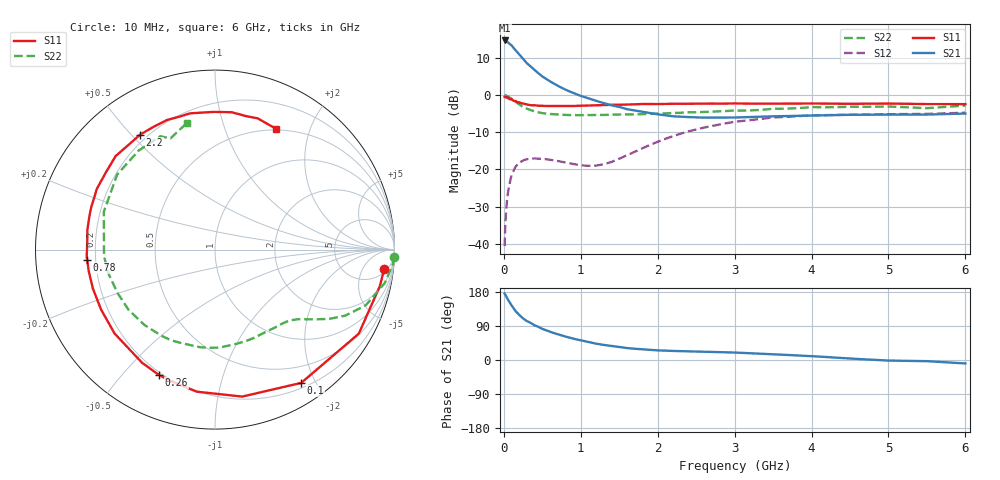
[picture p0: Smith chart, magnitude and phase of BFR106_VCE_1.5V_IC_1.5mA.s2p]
! Infineon Technologies  Discrete & RF Semiconductors
! BFR106
! VCE =  1.5 V,  IC =  1.5 mA
! Common Emitter S-Parameters:  Nov 2015
# GHz  S  MA  R  50
!  f  S11  S21  S12  S22
! GHz  MAG  ANG  MAG  ANG  MAG  ANG  MAG  ANG
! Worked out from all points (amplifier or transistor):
!   210 points, 10 MHz to 6 GHz, reference 50 ohm
!   highest |S21| = 14.7 dB at 10 MHz (marker M1)
!   |S21| within 3 dB of that: start of sweep to 168.7 MHz
!   unconditionally stable (mu >= 1): 804.6 MHz to end of sweep
!   at 185 MHz: K = 0.23, MSG = 14.9 dB, |S12| = -18.5 dB
!   at 1.52 GHz: K = 1.34, MAG = 3.3 dB, |S12| = -16.9 dB
!   at 6 GHz: K = 1.02, MAG = -1.0 dB, |S12| = -4.7 dB
!   S11 on the Smith chart (normalised r, x): 10 MHz: 7, -15; 100 MHz: 0.27, -1.81; 260 MHz: 0.19, -0.63; 780 MHz: 0.17, -0.04; 2.2 GHz: 0.17, +0.53; 6 GHz: 0.48, +1.51
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0.01  0.9487 -6.4  5.421 175.3  0.0093 87.2  0.9979 -2.4
0.015  0.9436 -9.4  5.391 173.8  0.0142 84.4  0.9963 -3.5
0.025  0.9326 -15.3  5.314 170.3  0.0236 79.7  0.989 -5.7
0.05  0.928 -30.3  5.161 160.1  0.0462 72.9  0.9643 -11.1
0.1  0.8844 -57.1  4.672 144.0  0.0838 58.8  0.8952 -20.3
0.15  0.8329 -79.5  4.039 129.1  0.1082 46.9  0.8146 -26.8
0.2  0.798 -97.3  3.537 118.8  0.1233 39.0  0.7492 -30.9
0.26  0.7651 -114.1  2.987 108.2  0.1332 31.3  0.684 -34.6
0.3  0.75 -122.8  2.678 102.7  0.1373 28.1  0.6547 -36.4
0.4  0.7291 -140.1  2.158 91.5  0.1407 21.4  0.6021 -40.1
0.5  0.7172 -152.2  1.779 82.1  0.1391 17.7  0.5713 -43.8
0.6  0.7142 -162.3  1.524 74.3  0.1351 15.9  0.5565 -47.7
0.78  0.7147 -175.4  1.211 63.1  0.1251 16.7  0.5419 -55.7
1.02  0.7197 170.1  0.96 50.9  0.1133 25.2  0.5373 -67.3
1.4  0.7403 152.8  0.728 37.0  0.1262 48.8  0.5468 -87.6
2.02  0.7568 129.0  0.547 25.3  0.2399 60.4  0.5651 -123.0
2.2  0.7645 123.1  0.518 23.9  0.2805 58.6  0.5752 -133.1
2.6  0.77 110.4  0.497 22.1  0.3649 50.7  0.594 -155.7
3.1  0.769 98.5  0.503 18.8  0.4479 38.6  0.6187 178.9
4.1  0.7688 81.9  0.533 9.0  0.535 17.2  0.6853 139.5
5.1  0.766 70.9  0.547 -1.8  0.5543 2.3  0.6942 115.0
6  0.7552 63.3  0.564 -9.1  0.5796 -7.6  0.7242 102.3
